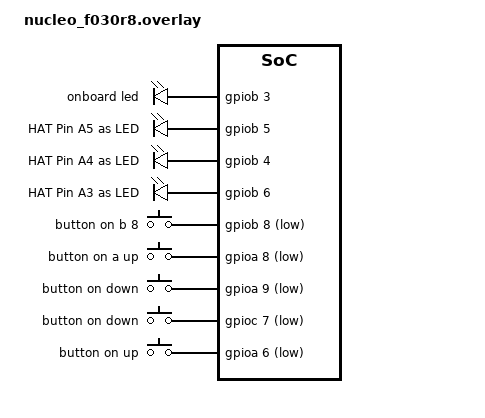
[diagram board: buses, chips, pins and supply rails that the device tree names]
/*
 * Copyright (c) JSC
 *
 * SPDX-License-Identifier: Apache-2.0
 */


/ {
	aliases {
		led0 = 			&led0;
		led1 = 			&led1;
		led2 = 			&led2;
		led3 = 			&led3;
		button =		&button;
		buttonxup = 	&buttonxup;
		buttonxdown = 	&buttonxdown;
		buttonyup = 	&buttonyup;
		buttonydown = 	&buttonydown;
	};

	leds {		
		compatible = "gpio-leds";
		// Arduino port D13 (board led)
		led0: led_0 {
			gpios = <&gpiob 3 GPIO_ACTIVE_HIGH>;
			label = "onboard led";
		};
		// Arduino pin A5: portc, pin 0 (external led)
		led1: led_1 {
			gpios = <&gpiob 5 GPIO_ACTIVE_HIGH>;
			label = "HAT Pin A5 as LED";
		};
		// Arduino pin A4: portc, pin 1 (external led)
		led2: led_2 {
			gpios = <&gpiob 4 GPIO_ACTIVE_HIGH>;
			label = "HAT Pin A4 as LED";
		};
		// Arduino pin A3: portb, pin 0 (external led)
		led3: led_3 {
			gpios = <&gpiob 6 GPIO_ACTIVE_HIGH>;
			label = "HAT Pin A3 as LED";	
		};
	};


   	buttons {
   		compatible = "gpio-keys";
   		button: button {
   			gpios = < &gpiob 8 (GPIO_PULL_UP | GPIO_ACTIVE_LOW) >; // flag shout be (GPIO_PULL_UP | GPIO_ACTIVE_LOW)
   			label = "button on b 8";
   		};
   		
		buttonxup: buttonxup{		
			gpios = < &gpioa 8 (GPIO_PULL_UP | GPIO_ACTIVE_LOW) >; // flag shout be (GPIO_PULL_UP | GPIO_ACTIVE_LOW)
   			label = "button on a up";
		};

		buttonxdown: buttonxdown{
			gpios = < &gpioa 9 (GPIO_PULL_UP | GPIO_ACTIVE_LOW) >; // flag shout be (GPIO_PULL_UP | GPIO_ACTIVE_LOW)
   			label = "button on down";
		};

		buttonydown: buttonydown{
			gpios = < &gpioc 7 (GPIO_PULL_UP | GPIO_ACTIVE_LOW) >; // flag shout be (GPIO_PULL_UP | GPIO_ACTIVE_LOW)
   			label = "button on down";
		};

		buttonyup: buttonyup{
			gpios = < &gpioa 6 (GPIO_PULL_UP | GPIO_ACTIVE_LOW) >; // flag shout be (GPIO_PULL_UP | GPIO_ACTIVE_LOW)
   			label = "button on up";
		};
   	};
 };
